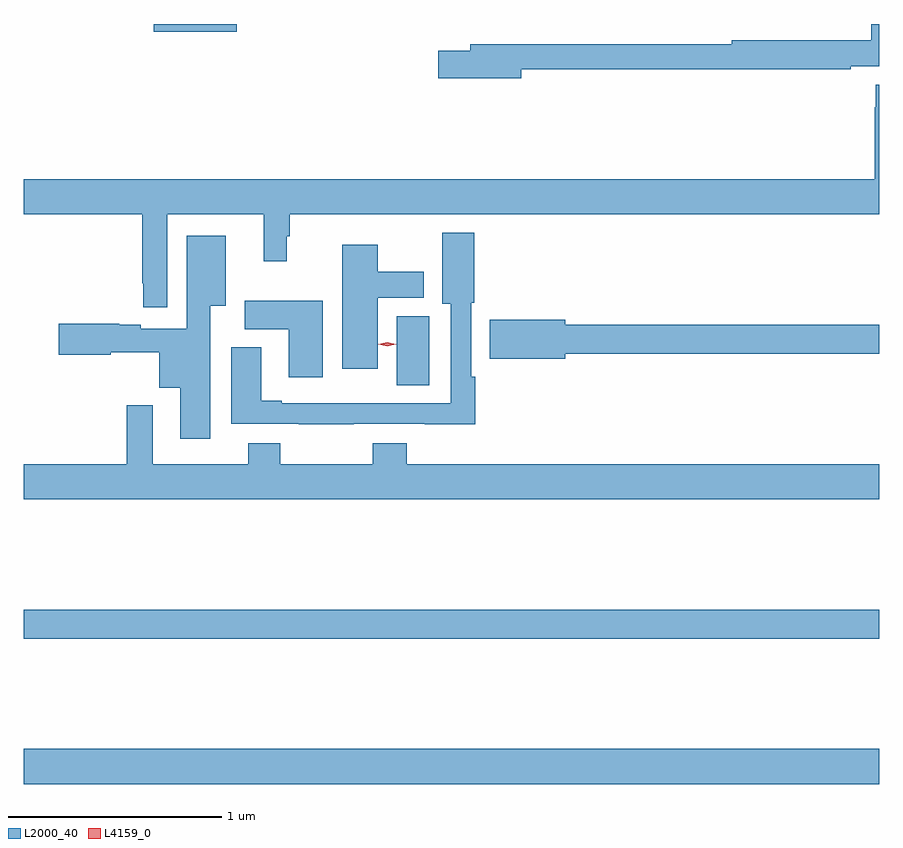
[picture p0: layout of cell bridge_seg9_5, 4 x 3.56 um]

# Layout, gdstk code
import gdstk
lib = gdstk.Library(unit=1e-6, precision=1e-09)
def R(c, l, rs):  # rectangles x0, y0, x1, y1
    for r in rs: c.add(gdstk.rectangle(r[:2], r[2:], *l))
def P(c, l, *ps):  # polygons
    for p in ps: c.add(gdstk.Polygon(p, *l))
L2000_40 = (2000, 40)
L4159_0 = (4159, 0)

bridge_seg9_5 = lib.new_cell('bridge_seg9_5')
R(bridge_seg9_5, L2000_40, [(1042.517,1228.388,1046.517,1228.552), (1042.517,1229.068,1046.517,1229.204), (1044.26,1230.253,1044.412,1230.577), (1043.124,1231.907,1043.512,1231.943)])
P(bridge_seg9_5, L2000_40, [(1044.844,1231.732),(1046.384,1231.732),(1046.384,1231.745),(1046.517,1231.745),(1046.517,1231.943),(1046.48,1231.943),(1046.48,1231.868),(1045.828,1231.868),(1045.828,1231.848),(1044.605,1231.848),(1044.605,1231.819),(1044.456,1231.819),(1044.456,1231.69),(1044.844,1231.69)],
  [(1043.187,1231.052),(1043.639,1231.052),(1043.639,1230.834),(1043.746,1230.834),(1043.746,1230.951),(1043.761,1230.951),(1043.761,1231.052),(1046.517,1231.052),(1046.517,1231.66),(1046.502,1231.66),(1046.502,1231.553),(1046.496,1231.553),(1046.496,1231.216),(1042.517,1231.216),(1042.517,1231.052),(1043.071,1231.052),(1043.071,1230.73),(1043.076,1230.73),(1043.076,1230.618),(1043.187,1230.618)],
  [(1044.059,1230.072),(1044.391,1230.072),(1044.391,1230.071),(1044.629,1230.071),(1044.629,1230.293),(1044.609,1230.293),(1044.609,1230.639),(1044.623,1230.639),(1044.623,1230.967),(1044.473,1230.967),(1044.473,1230.635),(1044.513,1230.635),(1044.513,1230.168),(1043.722,1230.168),(1043.722,1230.181),(1043.626,1230.181),(1043.626,1230.43),(1043.486,1230.43),(1043.486,1230.072),(1043.803,1230.072),(1043.803,1230.071),(1044.059,1230.071)],
  [(1043.389,1230.626),(1043.461,1230.626),(1043.461,1230.952),(1043.279,1230.952),(1043.279,1230.517),(1043.064,1230.517),(1043.064,1230.537),(1042.964,1230.537),(1042.964,1230.542),(1042.68,1230.542),(1042.68,1230.395),(1042.923,1230.395),(1042.923,1230.407),(1043.15,1230.407),(1043.15,1230.242),(1043.249,1230.242),(1043.249,1230.003),(1043.389,1230.003)],
  [(1044.172,1230.662),(1044.388,1230.662),(1044.388,1230.784),(1044.172,1230.784),(1044.172,1230.91),(1044.005,1230.91),(1044.005,1230.33),(1044.172,1230.33)],
  [(1043.914,1230.649),(1043.55,1230.649),(1043.55,1230.515),(1043.756,1230.515),(1043.756,1230.291),(1043.914,1230.291)],
  [(1045.048,1230.4),(1046.517,1230.4),(1046.517,1230.536),(1045.048,1230.536),(1045.048,1230.56),(1044.696,1230.56),(1044.696,1230.377),(1045.048,1230.377)],
  [(1046.517,1229.884),(1044.308,1229.884),(1044.308,1229.983),(1044.148,1229.983),(1044.148,1229.884),(1043.715,1229.884),(1043.715,1229.983),(1043.567,1229.983),(1043.567,1229.884),(1043.119,1229.884),(1043.119,1230.16),(1042.998,1230.16),(1042.998,1229.884),(1042.517,1229.884),(1042.517,1229.72),(1046.517,1229.72)])
P(bridge_seg9_5, L4159_0, [(1044.216,1230.435),(1044.175,1230.445),(1044.175,1230.445),(1044.175,1230.445),(1044.216,1230.455),(1044.257,1230.445),(1044.258,1230.445),(1044.257,1230.444)])

lib.write_gds('bridge_seg9_5.gds')
